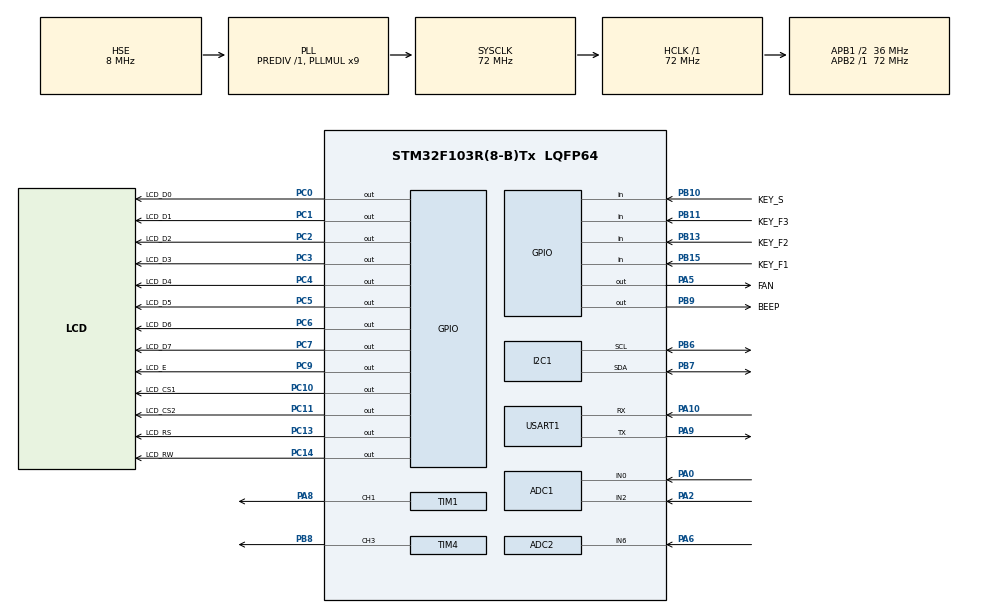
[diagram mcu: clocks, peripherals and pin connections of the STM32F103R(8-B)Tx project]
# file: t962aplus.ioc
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ADC2.SamplingTime-17\#ChannelRegularConversion=ADC_SAMPLETIME_28CYCLES_5
ADC1.Rank-14\#ChannelRegularConversion=15
TIM2.Channel-Output\ Compare1\ No\ Output=TIM_CHANNEL_1
ADC2.Rank-22\#ChannelRegularConversion=8
PB10.GPIO_PuPd=GPIO_PULLUP
ADC2.Channel-26\#ChannelRegularConversion=ADC_CHANNEL_6
ADC1.SamplingTime-6\#ChannelRegularConversion=ADC_SAMPLETIME_28CYCLES_5
PC6.GPIO_Label=LCD_D6
VP_RTC_VS_RTC_Activate.Mode=RTC_Enabled
ADC1.SamplingTime-12\#ChannelRegularConversion=ADC_SAMPLETIME_28CYCLES_5
PB13.Signal=GPIO_Input
ADC1.Channel-8\#ChannelRegularConversion=ADC_CHANNEL_2
PC3.GPIO_Speed=GPIO_SPEED_FREQ_LOW
RCC.SYSCLKSource=RCC_SYSCLKSOURCE_PLLCLK
ADC2.Rank-25\#ChannelRegularConversion=11
VP_TIM2_VS_ClockSourceITR.Mode=TriggerSource_ITR2
ADC1.Channel-5\#ChannelRegularConversion=ADC_CHANNEL_0
ADC1.Rank-11\#ChannelRegularConversion=12
RCC.APB2TimFreq_Value=72000000
PB6.Signal=I2C1_SCL
ADC1.Channel-2\#ChannelRegularConversion=ADC_CHANNEL_0
ADC2.Rank-18\#ChannelRegularConversion=4
PC7.Signal=GPIO_Output
PB6.Mode=I2C
PC3.Signal=GPIO_Output
ADC2.Rank-28\#ChannelRegularConversion=14
TIM4.Channel-PWM\ Generation3\ CH3=TIM_CHANNEL_3
RCC.RTCClockSelection=RCC_RTCCLKSOURCE_HSE_DIV128
ADC2.Channel-16\#ChannelRegularConversion=ADC_CHANNEL_6
PC4.GPIO_Label=LCD_D4
TIM1.Channel-PWM\ Generation1\ CH1=TIM_CHANNEL_1
PA8.Signal=S_TIM1_CH1
TIM4.Period=255
ADC1.Channel-15\#ChannelRegularConversion=ADC_CHANNEL_2
VP_TIM1_VS_ClockSourceINT.Mode=Internal
ADC1.SamplingTime-0\#ChannelRegularConversion=ADC_SAMPLETIME_28CYCLES_5
PB9.Signal=GPIO_Output
Mcu.Package=LQFP64
TIM2.Prescaler=0
ADC2.SamplingTime-24\#ChannelRegularConversion=ADC_SAMPLETIME_28CYCLES_5
NVIC.TimeBase=TIM3_IRQn
ADC2.Channel-20\#ChannelRegularConversion=ADC_CHANNEL_6
NVIC.TimeBaseIP=TIM3
PA10.Signal=USART1_RX
ADC2.Channel-30\#ChannelRegularConversion=ADC_CHANNEL_6
ADC1.SamplingTime-15\#ChannelRegularConversion=ADC_SAMPLETIME_28CYCLES_5
RCC.APB1TimFreq_Value=72000000
TIM1.Period=255
RTC.AutoPrediv=RTC_AUTO_1_SECOND
PC6.GPIO_Speed=GPIO_SPEED_FREQ_LOW
ADC1.Rank-4\#ChannelRegularConversion=5
ADC1.Channel-10\#ChannelRegularConversion=ADC_CHANNEL_2
ADC2.Rank-26\#ChannelRegularConversion=12
FREERTOS.Tasks01=defaultTask,24,128,StartDefaultTask,Default,NULL,Dynamic,NULL,NULL
ADC1.Rank-0\#ChannelRegularConversion=1
SH.ADCx_IN6.0=ADC2_IN6,IN6
PC2.Signal=GPIO_Output
PC6.Signal=GPIO_Output
PB11.GPIO_Label=KEY_F3
ADC2.Rank-30\#ChannelRegularConversion=16
ADC2.SamplingTime-22\#ChannelRegularConversion=ADC_SAMPLETIME_28CYCLES_5
PC0.Signal=GPIO_Output
ADC2.SamplingTime-25\#ChannelRegularConversion=ADC_SAMPLETIME_28CYCLES_5
RCC.APB1CLKDivider=RCC_HCLK_DIV2
PC14-OSC32_IN.Signal=GPIO_Output
PA0-WKUP.Signal=ADCx_IN0
ADC1.Channel-7\#ChannelRegularConversion=ADC_CHANNEL_0
ADC2.SamplingTime-18\#ChannelRegularConversion=ADC_SAMPLETIME_28CYCLES_5
ADC2.ContinuousConvMode=ENABLE
ADC2.Rank-23\#ChannelRegularConversion=9
PA9.Signal=USART1_TX
RTC.Format=RTC_FORMAT_BIN
PB10.Signal=GPIO_Input
PA5.Signal=GPIO_Output
ADC1.Rank-12\#ChannelRegularConversion=13
PC13-TAMPER-RTC.GPIO_Label=LCD_RS
ADC1.SamplingTime-14\#ChannelRegularConversion=ADC_SAMPLETIME_28CYCLES_5
NVIC.TIM3_IRQn=true\:0\:0\:false\:false\:true\:false\:false\:true
PB13.GPIO_PuPd=GPIO_PULLUP
PB15.GPIO_Label=KEY_F1
ADC2.Rank-19\#ChannelRegularConversion=5
PC1.GPIO_Speed=GPIO_SPEED_FREQ_LOW
ADC1.SamplingTime-10\#ChannelRegularConversion=ADC_SAMPLETIME_28CYCLES_5
ADC1.Rank-9\#ChannelRegularConversion=10
PA13.Mode=Serial_Wire
PC7.GPIO_Label=LCD_D7
ADC1.SamplingTime-1\#ChannelRegularConversion=ADC_SAMPLETIME_28CYCLES_5
ADC1.master=1
ADC2.Channel-19\#ChannelRegularConversion=ADC_CHANNEL_6
ADC2.NbrOfConversionFlag=1
PA5.GPIO_Label=FAN
USART1.VirtualMode=VM_ASYNC
ADC1.Rank-1\#ChannelRegularConversion=2
ProjectManager.HeapSize=0x200
ADC1.SamplingTime-5\#ChannelRegularConversion=ADC_SAMPLETIME_28CYCLES_5
ADC2.SamplingTime-21\#ChannelRegularConversion=ADC_SAMPLETIME_28CYCLES_5
NVIC.PriorityGroup=NVIC_PRIORITYGROUP_4
PC5.GPIO_Speed=GPIO_SPEED_FREQ_LOW
ADC2.Channel-27\#ChannelRegularConversion=ADC_CHANNEL_6
PC3.GPIO_Label=LCD_D3
ADC1.SamplingTime-9\#ChannelRegularConversion=ADC_SAMPLETIME_28CYCLES_5
ADC1.Rank-5\#ChannelRegularConversion=6
PC1.Signal=GPIO_Output
ADC2.Channel-23\#ChannelRegularConversion=ADC_CHANNEL_6
Mcu.Family=STM32F1
ADC2.SamplingTime-30\#ChannelRegularConversion=ADC_SAMPLETIME_28CYCLES_5
ADC2.SamplingTime-29\#ChannelRegularConversion=ADC_SAMPLETIME_28CYCLES_5
ADC2.Channel-0\#ChannelRegularConversion=ADC_CHANNEL_6
SH.ADCx_IN2.0=ADC1_IN2,IN2
PC10.Signal=GPIO_Output
PC0.GPIO_Label=LCD_D0
PC2.GPIO_Speed=GPIO_SPEED_FREQ_LOW
PB11.GPIO_PuPd=GPIO_PULLUP
PB13.GPIO_Label=KEY_F2
PB11.Signal=GPIO_Input
PB15.Signal=GPIO_Input
ADC1.Channel-14\#ChannelRegularConversion=ADC_CHANNEL_2
ProjectManager.StackSize=0x400
VP_FREERTOS_VS_CMSIS_V2.Mode=CMSIS_V2
PD1-OSC_OUT.Signal=RCC_OSC_OUT
VP_RTC_No_RTC_Output.Mode=RTC_OUT_NO
ADC2.SamplingTime-26\#ChannelRegularConversion=ADC_SAMPLETIME_28CYCLES_5
TIM1.Prescaler=56249
ADC1.Channel-3\#ChannelRegularConversion=ADC_CHANNEL_0
RCC.HCLKFreq_Value=72000000
RCC.AHBFreq_Value=72000000
ADC2.Rank-27\#ChannelRegularConversion=13
ADC1.Channel-0\#ChannelRegularConversion=ADC_CHANNEL_0
ADC2.Rank-16\#ChannelRegularConversion=2
VP_TIM2_VS_no_output1.Mode=Output Compare1 No Output
RCC.PLLMUL=RCC_PLL_MUL9
ADC1.SamplingTime-4\#ChannelRegularConversion=ADC_SAMPLETIME_28CYCLES_5
PC4.GPIO_Speed=GPIO_SPEED_FREQ_LOW
ADC1.Channel-6\#ChannelRegularConversion=ADC_CHANNEL_0
ADC1.Rank-2\#ChannelRegularConversion=3
ADC2.SamplingTime-20\#ChannelRegularConversion=ADC_SAMPLETIME_28CYCLES_5
PA14.Mode=Serial_Wire
ADC2.Channel-28\#ChannelRegularConversion=ADC_CHANNEL_6
PC11.GPIO_Label=LCD_CS2
PB7.Signal=I2C1_SDA
SH.ADCx_IN0.0=ADC1_IN0,IN0
ADC2.Rank-21\#ChannelRegularConversion=7
ADC1.Rank-15\#ChannelRegularConversion=16
ADC1.SamplingTime-11\#ChannelRegularConversion=ADC_SAMPLETIME_28CYCLES_5
PA6.Signal=ADCx_IN6
PB15.GPIO_PuPd=GPIO_PULLUP
ADC1.SamplingTime-13\#ChannelRegularConversion=ADC_SAMPLETIME_28CYCLES_5
ADC1.Channel-11\#ChannelRegularConversion=ADC_CHANNEL_2
PA15.Signal=SYS_JTDI
ADC2.SamplingTime-0\#ChannelRegularConversion=ADC_SAMPLETIME_28CYCLES_5
ADC2.NbrOfConversion=16
PC14-OSC32_IN.GPIO_Label=LCD_RW
ADC2.Channel-24\#ChannelRegularConversion=ADC_CHANNEL_6
PC5.Signal=GPIO_Output
ADC2.Rank-0\#ChannelRegularConversion=1
ADC1.Rank-6\#ChannelRegularConversion=7
ADC1.SamplingTime-8\#ChannelRegularConversion=ADC_SAMPLETIME_28CYCLES_5
PC2.GPIO_Label=LCD_D2
ADC2.Channel-22\#ChannelRegularConversion=ADC_CHANNEL_6
PB4.Signal=SYS_NJTRST
RCC.PLLSourceVirtual=RCC_PLLSOURCE_HSE
ADC2.Channel-18\#ChannelRegularConversion=ADC_CHANNEL_6
PD1-OSC_OUT.Mode=HSE-External-Oscillator
PB9.GPIO_Label=BEEP
ADC1.Channel-4\#ChannelRegularConversion=ADC_CHANNEL_0
PC10.GPIO_Label=LCD_CS1
PA10.Mode=Asynchronous
ADC1.Rank-10\#ChannelRegularConversion=11
PC9.GPIO_Label=LCD_E
ADC1.Rank-8\#ChannelRegularConversion=9
PC11.Signal=GPIO_Output
PC4.Signal=GPIO_Output
PC13-TAMPER-RTC.Signal=GPIO_Output
PD0-OSC_IN.Signal=RCC_OSC_IN
ADC1.Channel-13\#ChannelRegularConversion=ADC_CHANNEL_2
ADC1.SamplingTime-2\#ChannelRegularConversion=ADC_SAMPLETIME_28CYCLES_5
RCC.ADCPresc=RCC_ADCPCLK2_DIV6
PA13.Signal=SYS_JTMS-SWDIO
ADC1.Rank-13\#ChannelRegularConversion=14
PA9.Mode=Asynchronous
VP_SYS_VS_tim3.Mode=TIM3
PC0.GPIO_Speed=GPIO_SPEED_FREQ_LOW
SH.S_TIM1_CH1.0=TIM1_CH1,PWM Generation1 CH1
ProjectManager.TargetToolchain=STM32CubeIDE
PB10.GPIO_Label=KEY_S
VP_TIM2_VS_ControllerModeClock.Mode=Clock Mode
SH.S_TIM4_CH3.0=TIM4_CH3,PWM Generation3 CH3
ADC2.SamplingTime-28\#ChannelRegularConversion=ADC_SAMPLETIME_28CYCLES_5
ADC2.SamplingTime-16\#ChannelRegularConversion=ADC_SAMPLETIME_28CYCLES_5
ADC1.Channel-1\#ChannelRegularConversion=ADC_CHANNEL_0
ADC2.Rank-29\#ChannelRegularConversion=15
RCC.USBFreq_Value=72000000
ADC2.Rank-17\#ChannelRegularConversion=3
TIM4.Prescaler=56249
PD0-OSC_IN.Mode=HSE-External-Oscillator
ADC2.SamplingTime-19\#ChannelRegularConversion=ADC_SAMPLETIME_28CYCLES_5
board=custom
PC7.GPIO_Speed=GPIO_SPEED_FREQ_LOW
ADC2.SamplingTime-27\#ChannelRegularConversion=ADC_SAMPLETIME_28CYCLES_5
ADC1.Channel-12\#ChannelRegularConversion=ADC_CHANNEL_2
RCC.APB2Freq_Value=72000000
ADC2.Channel-21\#ChannelRegularConversion=ADC_CHANNEL_6
PC1.GPIO_Label=LCD_D1
ADC2.Rank-24\#ChannelRegularConversion=10
ADC2.Rank-20\#ChannelRegularConversion=6
ADC2.SamplingTime-23\#ChannelRegularConversion=ADC_SAMPLETIME_28CYCLES_5
ADC1.NbrOfConversion=16
Mcu.Name=STM32F103R(8-B)Tx
PA2.Signal=ADCx_IN2
ADC1.Channel-9\#ChannelRegularConversion=ADC_CHANNEL_2
PB3.Signal=SYS_JTDO-TRACESWO
RCC.SYSCLKFreq_VALUE=72000000
ADC1.SamplingTime-3\#ChannelRegularConversion=ADC_SAMPLETIME_28CYCLES_5
ADC1.Rank-3\#ChannelRegularConversion=4
ADC2.Channel-17\#ChannelRegularConversion=ADC_CHANNEL_6
PC5.GPIO_Label=LCD_D5
PB7.Mode=I2C
PA14.Signal=SYS_JTCK-SWCLK
ADC2.Channel-29\#ChannelRegularConversion=ADC_CHANNEL_6
ADC1.Rank-7\#ChannelRegularConversion=8
ADC1.NbrOfConversionFlag=1
PB8.Signal=S_TIM4_CH3
PC9.Signal=GPIO_Output
ADC1.SamplingTime-7\#ChannelRegularConversion=ADC_SAMPLETIME_28CYCLES_5
ADC2.Channel-25\#ChannelRegularConversion=ADC_CHANNEL_6
RCC.APB1Freq_Value=36000000

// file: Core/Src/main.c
/* USER CODE BEGIN Header */
/**
  ******************************************************************************
  * @file           : main.c
  * @brief          : Main program body
  ******************************************************************************
  * @attention
  *
  * <h2><center>&copy; Copyright (c) 2021 STMicroelectronics.
  * All rights reserved.</center></h2>
  *
  * This software component is licensed by ST under BSD 3-Clause license,
  * the "License"; You may not use this file except in compliance with the
  * License. You may obtain a copy of the License at:
  *                        opensource.org/licenses/BSD-3-Clause
  *
  ******************************************************************************
  */
/* USER CODE END Header */
#include "main.h"
#include "cmsis_os.h"

/* USER CODE BEGIN Includes */
#include "retarget.h"
#include <stdio.h>
#include "eeprom.h"
#include "lcd.h"
#include "max31855.h"
#include "sched.h"
#include "rtc.h"
#include "keypad.h"
#include "reflow.h"
#include "nvstorage.h"
#include "setup.h"
#include "adc.h"
#include "io.h"
#include "sensor.h"
#include "version.h"
#include "buzzer.h"

// No version.c file generated for LPCXpresso builds, fall back to this
__attribute__((weak)) const char* Version_GetGitVersion(void) {
	return "Pre-alpha-ultra-early";
	//return "no version info";
}

/* USER CODE END Includes */

ADC_HandleTypeDef hadc1;
ADC_HandleTypeDef hadc2;

I2C_HandleTypeDef hi2c1;

RTC_HandleTypeDef hrtc;

TIM_HandleTypeDef htim1;
TIM_HandleTypeDef htim2;
TIM_HandleTypeDef htim4;

UART_HandleTypeDef huart1;

/* Definitions for defaultTask */
osThreadId_t defaultTaskHandle;
const osThreadAttr_t defaultTask_attributes = {
  .name = "defaultTask",
  .stack_size = 384 * 4,
  .priority = (osPriority_t) osPriorityNormal,
};

void SystemClock_Config(void);
static void MX_GPIO_Init(void);
static void MX_ADC1_Init(void);
static void MX_I2C1_Init(void);
static void MX_USART1_UART_Init(void);
static void MX_TIM1_Init(void);
static void MX_TIM4_Init(void);
static void MX_ADC2_Init(void);
static void MX_RTC_Init(void);
static void MX_TIM2_Init(void);
void StartDefaultTask(void *argument);

/* USER CODE BEGIN 0 */
extern uint8_t logobmp[];
extern uint8_t stopbmp[];
extern uint8_t editbmp[];
extern uint8_t f3editbmp[];
extern uint8_t selectbmp[];

static int32_t Main_Work(void);

/* USER CODE END 0 */

int main(void)
{

  /* MCU Configuration--------------------------------------------------------*/

  /* Reset of all peripherals, Initializes the Flash interface and the Systick. */
  HAL_Init();

  /* Configure the system clock */
  SystemClock_Config();

  /* Initialize all configured peripherals */
  MX_GPIO_Init();
  MX_ADC1_Init();
  MX_I2C1_Init();
  MX_USART1_UART_Init();
  MX_TIM1_Init();
  MX_TIM4_Init();
  MX_ADC2_Init();
  MX_RTC_Init();
  MX_TIM2_Init();
  /* USER CODE BEGIN 2 */

  // De-HALize TIM3 so we can get a proper 32-bit counter
  TIM3->ARR = 0xffff;
  TIM3->CR2 = 0x20;
  TIM3->PSC = 8; // Div by 9 means count 8 times per us

  RetargetInit(&huart1);
  EEPROM_Init(&hi2c1);
  NV_Init();

  LCD_Init();
  LCD_BMPDisplay(logobmp, 0, 0);

  uint8_t buf[30];
  uint8_t len;

	len = IO_Partinfo(buf, sizeof(buf), "%s rev %c");
	LCD_disp_str((uint8_t*)buf, len, 0, 64 - 6, FONT6X6);
	printf("\nRunning on an %s", buf);

	len = snprintf(buf, sizeof(buf), "%s", Version_GetGitVersion());
	LCD_disp_str((uint8_t*)buf, len, LCD_ALIGN_CENTER(len), 0, FONT6X6);

  //len = snprintf(buf, sizeof(buf), "T-962A+ controller");
  //LCD_disp_str((uint8_t*)buf, len, LCD_ALIGN_CENTER(len), 0, FONT6X6);

  //len = snprintf(buf, sizeof(buf), "Unified Engineering");
  //LCD_disp_str((uint8_t*)buf, len, LCD_ALIGN_CENTER(len), 64-12, FONT6X6);
  //len = snprintf(buf, sizeof(buf), "Pre-alpha-ultra-early");
  //LCD_disp_str((uint8_t*)buf, len, LCD_ALIGN_CENTER(len), 64-6, FONT6X6);
  LCD_FB_Update();

  HAL_TIM_PWM_Start(&htim1, TIM_CHANNEL_1); // "Cool" on PA8
  HAL_TIM_PWM_Start(&htim4, TIM_CHANNEL_3); // "Heat" on PB8

  HAL_ADC_Start(&hadc1);
  HAL_ADC_Start(&hadc2);

  RTC_Init(&hrtc);
  Sched_Init(&htim2);

  SPI_TC_Init(&hi2c1);

	Keypad_Init();
	Buzzer_Init();
	ADC_Init();
//	RTC_Init();
//	OneWire_Init();
//	SPI_TC_Init();
	Reflow_Init();
//	SystemFan_Init();

	Sched_SetWorkfunc(MAIN_WORK, Main_Work);
	Sched_SetState(MAIN_WORK, 1, TICKS_SECS(2)); // Enable in 2 seconds

	Buzzer_Beep(BUZZ_1KHZ, 255, TICKS_MS(100));

  /* USER CODE END 2 */

  /* Init scheduler */
  osKernelInitialize();

  /* Create the thread(s) */
  /* creation of defaultTask */
  defaultTaskHandle = osThreadNew(StartDefaultTask, NULL, &defaultTask_attributes);

  /* USER CODE BEGIN RTOS_EVENTS */
  /* add events, ... */
  printf("Just before osKernelStart\r\n");
  /* USER CODE END RTOS_EVENTS */

  /* Start scheduler */
  osKernelStart();

  /* We should never get here as control is now taken by the scheduler */
  /* Infinite loop */
  while (1)
  {

  }
}

void SystemClock_Config(void)
{
  RCC_OscInitTypeDef RCC_OscInitStruct = {0};
  RCC_ClkInitTypeDef RCC_ClkInitStruct = {0};
  RCC_PeriphCLKInitTypeDef PeriphClkInit = {0};

  /** Initializes the RCC Oscillators according to the specified parameters
  * in the RCC_OscInitTypeDef structure.
  */
  RCC_OscInitStruct.OscillatorType = RCC_OSCILLATORTYPE_HSE;
  RCC_OscInitStruct.HSEState = RCC_HSE_ON;
  RCC_OscInitStruct.HSEPredivValue = RCC_HSE_PREDIV_DIV1;
  RCC_OscInitStruct.HSIState = RCC_HSI_ON;
  RCC_OscInitStruct.PLL.PLLState = RCC_PLL_ON;
  RCC_OscInitStruct.PLL.PLLSource = RCC_PLLSOURCE_HSE;
  RCC_OscInitStruct.PLL.PLLMUL = RCC_PLL_MUL9;
  if (HAL_RCC_OscConfig(&RCC_OscInitStruct) != HAL_OK)
  {
    Error_Handler();
  }
  /** Initializes the CPU, AHB and APB buses clocks
  */
  RCC_ClkInitStruct.ClockType = RCC_CLOCKTYPE_HCLK|RCC_CLOCKTYPE_SYSCLK
                              |RCC_CLOCKTYPE_PCLK1|RCC_CLOCKTYPE_PCLK2;
  RCC_ClkInitStruct.SYSCLKSource = RCC_SYSCLKSOURCE_PLLCLK;
  RCC_ClkInitStruct.AHBCLKDivider = RCC_SYSCLK_DIV1;
  RCC_ClkInitStruct.APB1CLKDivider = RCC_HCLK_DIV2;
  RCC_ClkInitStruct.APB2CLKDivider = RCC_HCLK_DIV1;

  if (HAL_RCC_ClockConfig(&RCC_ClkInitStruct, FLASH_LATENCY_2) != HAL_OK)
  {
    Error_Handler();
  }
  PeriphClkInit.PeriphClockSelection = RCC_PERIPHCLK_RTC|RCC_PERIPHCLK_ADC;
  PeriphClkInit.RTCClockSelection = RCC_RTCCLKSOURCE_HSE_DIV128;
  PeriphClkInit.AdcClockSelection = RCC_ADCPCLK2_DIV6;
  if (HAL_RCCEx_PeriphCLKConfig(&PeriphClkInit) != HAL_OK)
  {
    Error_Handler();
  }
}

static void MX_ADC1_Init(void)
{

  ADC_ChannelConfTypeDef sConfig = {0};

  /** Common config
  */
  hadc1.Instance = ADC1;
  hadc1.Init.ScanConvMode = ADC_SCAN_ENABLE;
  hadc1.Init.ContinuousConvMode = DISABLE;
  hadc1.Init.DiscontinuousConvMode = DISABLE;
  hadc1.Init.ExternalTrigConv = ADC_SOFTWARE_START;
  hadc1.Init.DataAlign = ADC_DATAALIGN_RIGHT;
  hadc1.Init.NbrOfConversion = 16;
  if (HAL_ADC_Init(&hadc1) != HAL_OK)
  {
    Error_Handler();
  }
  /** Configure Regular Channel
  */
  sConfig.Channel = ADC_CHANNEL_0;
  sConfig.Rank = ADC_REGULAR_RANK_1;
  sConfig.SamplingTime = ADC_SAMPLETIME_28CYCLES_5;
  if (HAL_ADC_ConfigChannel(&hadc1, &sConfig) != HAL_OK)
  {
    Error_Handler();
  }
  /** Configure Regular Channel
  */
  sConfig.Rank = ADC_REGULAR_RANK_2;
  if (HAL_ADC_ConfigChannel(&hadc1, &sConfig) != HAL_OK)
  {
    Error_Handler();
  }
  /** Configure Regular Channel
  */
  sConfig.Rank = ADC_REGULAR_RANK_3;
  if (HAL_ADC_ConfigChannel(&hadc1, &sConfig) != HAL_OK)
  {
    Error_Handler();
  }
  /** Configure Regular Channel
  */
  sConfig.Rank = ADC_REGULAR_RANK_4;
  if (HAL_ADC_ConfigChannel(&hadc1, &sConfig) != HAL_OK)
  {
    Error_Handler();
  }
  /** Configure Regular Channel
  */
  sConfig.Rank = ADC_REGULAR_RANK_5;
  if (HAL_ADC_ConfigChannel(&hadc1, &sConfig) != HAL_OK)
  {
    Error_Handler();
  }
  /** Configure Regular Channel
  */
  sConfig.Rank = ADC_REGULAR_RANK_6;
  if (HAL_ADC_ConfigChannel(&hadc1, &sConfig) != HAL_OK)
  {
    Error_Handler();
  }
  /** Configure Regular Channel
  */
  sConfig.Rank = ADC_REGULAR_RANK_7;
  if (HAL_ADC_ConfigChannel(&hadc1, &sConfig) != HAL_OK)
  {
    Error_Handler();
  }
  /** Configure Regular Channel
  */
  sConfig.Rank = ADC_REGULAR_RANK_8;
  if (HAL_ADC_ConfigChannel(&hadc1, &sConfig) != HAL_OK)
  {
    Error_Handler();
  }
  /** Configure Regular Channel
  */
  sConfig.Channel = ADC_CHANNEL_2;
  sConfig.Rank = ADC_REGULAR_RANK_9;
  if (HAL_ADC_ConfigChannel(&hadc1, &sConfig) != HAL_OK)
  {
    Error_Handler();
  }
  /** Configure Regular Channel
  */
  sConfig.Rank = ADC_REGULAR_RANK_10;
  if (HAL_ADC_ConfigChannel(&hadc1, &sConfig) != HAL_OK)
  {
    Error_Handler();
  }
  /** Configure Regular Channel
  */
  sConfig.Rank = ADC_REGULAR_RANK_11;
  if (HAL_ADC_ConfigChannel(&hadc1, &sConfig) != HAL_OK)
  {
    Error_Handler();
  }
  /** Configure Regular Channel
  */
  sConfig.Rank = ADC_REGULAR_RANK_12;
  if (HAL_ADC_ConfigChannel(&hadc1, &sConfig) != HAL_OK)
  {
    Error_Handler();
  }
  /** Configure Regular Channel
  */
  sConfig.Rank = ADC_REGULAR_RANK_13;
  if (HAL_ADC_ConfigChannel(&hadc1, &sConfig) != HAL_OK)
  {
    Error_Handler();
  }
  /** Configure Regular Channel
  */
  sConfig.Rank = ADC_REGULAR_RANK_14;
  if (HAL_ADC_ConfigChannel(&hadc1, &sConfig) != HAL_OK)
  {
    Error_Handler();
  }
  /** Configure Regular Channel
  */
  sConfig.Rank = ADC_REGULAR_RANK_15;
  if (HAL_ADC_ConfigChannel(&hadc1, &sConfig) != HAL_OK)
  {
    Error_Handler();
  }
  /** Configure Regular Channel
  */
  sConfig.Rank = ADC_REGULAR_RANK_16;
  if (HAL_ADC_ConfigChannel(&hadc1, &sConfig) != HAL_OK)
  {
    Error_Handler();
  }

}

static void MX_ADC2_Init(void)
{

  ADC_ChannelConfTypeDef sConfig = {0};

  /** Common config
  */
  hadc2.Instance = ADC2;
  hadc2.Init.ScanConvMode = ADC_SCAN_ENABLE;
  hadc2.Init.ContinuousConvMode = ENABLE;
  hadc2.Init.DiscontinuousConvMode = DISABLE;
  hadc2.Init.ExternalTrigConv = ADC_SOFTWARE_START;
  hadc2.Init.DataAlign = ADC_DATAALIGN_RIGHT;
  hadc2.Init.NbrOfConversion = 16;
  if (HAL_ADC_Init(&hadc2) != HAL_OK)
  {
    Error_Handler();
  }
  /** Configure Regular Channel
  */
  sConfig.Channel = ADC_CHANNEL_6;
  sConfig.Rank = ADC_REGULAR_RANK_1;
  sConfig.SamplingTime = ADC_SAMPLETIME_28CYCLES_5;
  if (HAL_ADC_ConfigChannel(&hadc2, &sConfig) != HAL_OK)
  {
    Error_Handler();
  }
  /** Configure Regular Channel
  */
  sConfig.Rank = ADC_REGULAR_RANK_2;
  if (HAL_ADC_ConfigChannel(&hadc2, &sConfig) != HAL_OK)
  {
    Error_Handler();
  }
  /** Configure Regular Channel
  */
  sConfig.Rank = ADC_REGULAR_RANK_3;
  if (HAL_ADC_ConfigChannel(&hadc2, &sConfig) != HAL_OK)
  {
    Error_Handler();
  }
  /** Configure Regular Channel
  */
  sConfig.Rank = ADC_REGULAR_RANK_4;
  if (HAL_ADC_ConfigChannel(&hadc2, &sConfig) != HAL_OK)
  {
    Error_Handler();
  }
  /** Configure Regular Channel
  */
  sConfig.Rank = ADC_REGULAR_RANK_5;
  if (HAL_ADC_ConfigChannel(&hadc2, &sConfig) != HAL_OK)
  {
    Error_Handler();
  }
  /** Configure Regular Channel
  */
  sConfig.Rank = ADC_REGULAR_RANK_6;
  if (HAL_ADC_ConfigChannel(&hadc2, &sConfig) != HAL_OK)
  {
    Error_Handler();
  }
  /** Configure Regular Channel
  */
  sConfig.Rank = ADC_REGULAR_RANK_7;
  if (HAL_ADC_ConfigChannel(&hadc2, &sConfig) != HAL_OK)
  {
    Error_Handler();
  }
  /** Configure Regular Channel
  */
  sConfig.Rank = ADC_REGULAR_RANK_8;
  if (HAL_ADC_ConfigChannel(&hadc2, &sConfig) != HAL_OK)
  {
    Error_Handler();
  }
  /** Configure Regular Channel
  */
  sConfig.Rank = ADC_REGULAR_RANK_9;
  if (HAL_ADC_ConfigChannel(&hadc2, &sConfig) != HAL_OK)
  {
    Error_Handler();
  }
  /** Configure Regular Channel
  */
  sConfig.Rank = ADC_REGULAR_RANK_10;
  if (HAL_ADC_ConfigChannel(&hadc2, &sConfig) != HAL_OK)
  {
    Error_Handler();
  }
  /** Configure Regular Channel
  */
  sConfig.Rank = ADC_REGULAR_RANK_11;
  if (HAL_ADC_ConfigChannel(&hadc2, &sConfig) != HAL_OK)
  {
    Error_Handler();
  }
  /** Configure Regular Channel
  */
  sConfig.Rank = ADC_REGULAR_RANK_12;
  if (HAL_ADC_ConfigChannel(&hadc2, &sConfig) != HAL_OK)
  {
    Error_Handler();
  }
  /** Configure Regular Channel
  */
  sConfig.Rank = ADC_REGULAR_RANK_13;
  if (HAL_ADC_ConfigChannel(&hadc2, &sConfig) != HAL_OK)
  {
    Error_Handler();
  }
  /** Configure Regular Channel
  */
  sConfig.Rank = ADC_REGULAR_RANK_14;
  if (HAL_ADC_ConfigChannel(&hadc2, &sConfig) != HAL_OK)
  {
    Error_Handler();
  }
  /** Configure Regular Channel
  */
  sConfig.Rank = ADC_REGULAR_RANK_15;
  if (HAL_ADC_ConfigChannel(&hadc2, &sConfig) != HAL_OK)
  {
    Error_Handler();
  }
  /** Configure Regular Channel
  */
  sConfig.Rank = ADC_REGULAR_RANK_16;
  if (HAL_ADC_ConfigChannel(&hadc2, &sConfig) != HAL_OK)
  {
    Error_Handler();
  }

}

static void MX_I2C1_Init(void)
{

  hi2c1.Instance = I2C1;
  hi2c1.Init.ClockSpeed = 100000;
  hi2c1.Init.DutyCycle = I2C_DUTYCYCLE_2;
  hi2c1.Init.OwnAddress1 = 0;
  hi2c1.Init.AddressingMode = I2C_ADDRESSINGMODE_7BIT;
  hi2c1.Init.DualAddressMode = I2C_DUALADDRESS_DISABLE;
  hi2c1.Init.OwnAddress2 = 0;
  hi2c1.Init.GeneralCallMode = I2C_GENERALCALL_DISABLE;
  hi2c1.Init.NoStretchMode = I2C_NOSTRETCH_DISABLE;
  if (HAL_I2C_Init(&hi2c1) != HAL_OK)
  {
    Error_Handler();
  }

}

static void MX_RTC_Init(void)
{

  RTC_TimeTypeDef sTime = {0};
  RTC_DateTypeDef DateToUpdate = {0};

  /** Initialize RTC Only
  */
  hrtc.Instance = RTC;
  hrtc.Init.AsynchPrediv = RTC_AUTO_1_SECOND;
  hrtc.Init.OutPut = RTC_OUTPUTSOURCE_NONE;
  if (HAL_RTC_Init(&hrtc) != HAL_OK)
  {
    Error_Handler();
  }

  /** Initialize RTC and set the Time and Date
  */
  sTime.Hours = 0;
  sTime.Minutes = 0;
  sTime.Seconds = 0;

  if (HAL_RTC_SetTime(&hrtc, &sTime, RTC_FORMAT_BIN) != HAL_OK)
  {
    Error_Handler();
  }
  DateToUpdate.WeekDay = RTC_WEEKDAY_MONDAY;
  DateToUpdate.Month = RTC_MONTH_JANUARY;
  DateToUpdate.Date = 1;
  DateToUpdate.Year = 0;

  if (HAL_RTC_SetDate(&hrtc, &DateToUpdate, RTC_FORMAT_BIN) != HAL_OK)
  {
    Error_Handler();
  }

}

static void MX_TIM1_Init(void)
{

  TIM_ClockConfigTypeDef sClockSourceConfig = {0};
  TIM_MasterConfigTypeDef sMasterConfig = {0};
  TIM_OC_InitTypeDef sConfigOC = {0};
  TIM_BreakDeadTimeConfigTypeDef sBreakDeadTimeConfig = {0};

  htim1.Instance = TIM1;
  htim1.Init.Prescaler = 56249;
  htim1.Init.CounterMode = TIM_COUNTERMODE_UP;
  htim1.Init.Period = 255;
  htim1.Init.ClockDivision = TIM_CLOCKDIVISION_DIV1;
  htim1.Init.RepetitionCounter = 0;
  htim1.Init.AutoReloadPreload = TIM_AUTORELOAD_PRELOAD_DISABLE;
  if (HAL_TIM_Base_Init(&htim1) != HAL_OK)
  {
    Error_Handler();
  }
  sClockSourceConfig.ClockSource = TIM_CLOCKSOURCE_INTERNAL;
  if (HAL_TIM_ConfigClockSource(&htim1, &sClockSourceConfig) != HAL_OK)
  {
    Error_Handler();
  }
  if (HAL_TIM_PWM_Init(&htim1) != HAL_OK)
  {
    Error_Handler();
  }
  sMasterConfig.MasterOutputTrigger = TIM_TRGO_RESET;
  sMasterConfig.MasterSlaveMode = TIM_MASTERSLAVEMODE_DISABLE;
  if (HAL_TIMEx_MasterConfigSynchronization(&htim1, &sMasterConfig) != HAL_OK)
  {
    Error_Handler();
  }
  sConfigOC.OCMode = TIM_OCMODE_PWM1;
  sConfigOC.Pulse = 0;
  sConfigOC.OCPolarity = TIM_OCPOLARITY_HIGH;
  sConfigOC.OCNPolarity = TIM_OCNPOLARITY_HIGH;
  sConfigOC.OCFastMode = TIM_OCFAST_DISABLE;
  sConfigOC.OCIdleState = TIM_OCIDLESTATE_RESET;
  sConfigOC.OCNIdleState = TIM_OCNIDLESTATE_RESET;
  if (HAL_TIM_PWM_ConfigChannel(&htim1, &sConfigOC, TIM_CHANNEL_1) != HAL_OK)
  {
    Error_Handler();
  }
  sBreakDeadTimeConfig.OffStateRunMode = TIM_OSSR_DISABLE;
  sBreakDeadTimeConfig.OffStateIDLEMode = TIM_OSSI_DISABLE;
  sBreakDeadTimeConfig.LockLevel = TIM_LOCKLEVEL_OFF;
  sBreakDeadTimeConfig.DeadTime = 0;
  sBreakDeadTimeConfig.BreakState = TIM_BREAK_DISABLE;
  sBreakDeadTimeConfig.BreakPolarity = TIM_BREAKPOLARITY_HIGH;
  sBreakDeadTimeConfig.AutomaticOutput = TIM_AUTOMATICOUTPUT_DISABLE;
  if (HAL_TIMEx_ConfigBreakDeadTime(&htim1, &sBreakDeadTimeConfig) != HAL_OK)
  {
    Error_Handler();
  }
  HAL_TIM_MspPostInit(&htim1);

}

static void MX_TIM2_Init(void)
{

  TIM_SlaveConfigTypeDef sSlaveConfig = {0};
  TIM_MasterConfigTypeDef sMasterConfig = {0};
  TIM_OC_InitTypeDef sConfigOC = {0};

  htim2.Instance = TIM2;
  htim2.Init.Prescaler = 0;
  htim2.Init.CounterMode = TIM_COUNTERMODE_UP;
  htim2.Init.Period = 65535;
  htim2.Init.ClockDivision = TIM_CLOCKDIVISION_DIV1;
  htim2.Init.AutoReloadPreload = TIM_AUTORELOAD_PRELOAD_DISABLE;
  if (HAL_TIM_Base_Init(&htim2) != HAL_OK)
  {
    Error_Handler();
  }
  if (HAL_TIM_OC_Init(&htim2) != HAL_OK)
  {
    Error_Handler();
  }
  sSlaveConfig.SlaveMode = TIM_SLAVEMODE_EXTERNAL1;
  sSlaveConfig.InputTrigger = TIM_TS_ITR2;
  if (HAL_TIM_SlaveConfigSynchro(&htim2, &sSlaveConfig) != HAL_OK)
  {
    Error_Handler();
  }
  sMasterConfig.MasterOutputTrigger = TIM_TRGO_RESET;
  sMasterConfig.MasterSlaveMode = TIM_MASTERSLAVEMODE_DISABLE;
  if (HAL_TIMEx_MasterConfigSynchronization(&htim2, &sMasterConfig) != HAL_OK)
  {
    Error_Handler();
  }
  sConfigOC.OCMode = TIM_OCMODE_TIMING;
  sConfigOC.Pulse = 0;
  sConfigOC.OCPolarity = TIM_OCPOLARITY_HIGH;
  sConfigOC.OCFastMode = TIM_OCFAST_DISABLE;
  if (HAL_TIM_OC_ConfigChannel(&htim2, &sConfigOC, TIM_CHANNEL_1) != HAL_OK)
  {
    Error_Handler();
  }

}

static void MX_TIM4_Init(void)
{

  TIM_MasterConfigTypeDef sMasterConfig = {0};
  TIM_OC_InitTypeDef sConfigOC = {0};

  htim4.Instance = TIM4;
  htim4.Init.Prescaler = 56249;
  htim4.Init.CounterMode = TIM_COUNTERMODE_UP;
  htim4.Init.Period = 255;
  htim4.Init.ClockDivision = TIM_CLOCKDIVISION_DIV1;
  htim4.Init.AutoReloadPreload = TIM_AUTORELOAD_PRELOAD_DISABLE;
  if (HAL_TIM_PWM_Init(&htim4) != HAL_OK)
  {
    Error_Handler();
  }
  sMasterConfig.MasterOutputTrigger = TIM_TRGO_RESET;
  sMasterConfig.MasterSlaveMode = TIM_MASTERSLAVEMODE_DISABLE;
  if (HAL_TIMEx_MasterConfigSynchronization(&htim4, &sMasterConfig) != HAL_OK)
  {
    Error_Handler();
  }
  sConfigOC.OCMode = TIM_OCMODE_PWM1;
  sConfigOC.Pulse = 0;
  sConfigOC.OCPolarity = TIM_OCPOLARITY_HIGH;
  sConfigOC.OCFastMode = TIM_OCFAST_DISABLE;
  if (HAL_TIM_PWM_ConfigChannel(&htim4, &sConfigOC, TIM_CHANNEL_3) != HAL_OK)
  {
    Error_Handler();
  }
  HAL_TIM_MspPostInit(&htim4);

}

static void MX_USART1_UART_Init(void)
{

  huart1.Instance = USART1;
  huart1.Init.BaudRate = 115200;
  huart1.Init.WordLength = UART_WORDLENGTH_8B;
  huart1.Init.StopBits = UART_STOPBITS_1;
  huart1.Init.Parity = UART_PARITY_NONE;
  huart1.Init.Mode = UART_MODE_TX_RX;
  huart1.Init.HwFlowCtl = UART_HWCONTROL_NONE;
  huart1.Init.OverSampling = UART_OVERSAMPLING_16;
  if (HAL_UART_Init(&huart1) != HAL_OK)
  {
    Error_Handler();
  }

}

static void MX_GPIO_Init(void)
{
  GPIO_InitTypeDef GPIO_InitStruct = {0};

  /* GPIO Ports Clock Enable */
  __HAL_RCC_GPIOC_CLK_ENABLE();
  __HAL_RCC_GPIOD_CLK_ENABLE();
  __HAL_RCC_GPIOA_CLK_ENABLE();
  __HAL_RCC_GPIOB_CLK_ENABLE();

  /*Configure GPIO pin Output Level */
  HAL_GPIO_WritePin(GPIOC, LCD_RS_Pin|LCD_RW_Pin|LCD_D0_Pin|LCD_D1_Pin
                          |LCD_D2_Pin|LCD_D3_Pin|LCD_D4_Pin|LCD_D5_Pin
                          |LCD_D6_Pin|LCD_D7_Pin|LCD_E_Pin|LCD_CS1_Pin
                          |LCD_CS2_Pin, GPIO_PIN_RESET);

  /*Configure GPIO pin Output Level */
  HAL_GPIO_WritePin(FAN_GPIO_Port, FAN_Pin, GPIO_PIN_RESET);

  /*Configure GPIO pin Output Level */
  HAL_GPIO_WritePin(BEEP_GPIO_Port, BEEP_Pin, GPIO_PIN_RESET);

  /*Configure GPIO pins : LCD_RS_Pin LCD_RW_Pin LCD_D0_Pin LCD_D1_Pin
                           LCD_D2_Pin LCD_D3_Pin LCD_D4_Pin LCD_D5_Pin
                           LCD_D6_Pin LCD_D7_Pin LCD_E_Pin LCD_CS1_Pin
                           LCD_CS2_Pin */
  GPIO_InitStruct.Pin = LCD_RS_Pin|LCD_RW_Pin|LCD_D0_Pin|LCD_D1_Pin
                          |LCD_D2_Pin|LCD_D3_Pin|LCD_D4_Pin|LCD_D5_Pin
                          |LCD_D6_Pin|LCD_D7_Pin|LCD_E_Pin|LCD_CS1_Pin
                          |LCD_CS2_Pin;
  GPIO_InitStruct.Mode = GPIO_MODE_OUTPUT_PP;
  GPIO_InitStruct.Pull = GPIO_NOPULL;
  GPIO_InitStruct.Speed = GPIO_SPEED_FREQ_LOW;
  HAL_GPIO_Init(GPIOC, &GPIO_InitStruct);

  /*Configure GPIO pin : FAN_Pin */
  GPIO_InitStruct.Pin = FAN_Pin;
  GPIO_InitStruct.Mode = GPIO_MODE_OUTPUT_PP;
  GPIO_InitStruct.Pull = GPIO_NOPULL;
  GPIO_InitStruct.Speed = GPIO_SPEED_FREQ_LOW;
  HAL_GPIO_Init(FAN_GPIO_Port, &GPIO_InitStruct);

  /*Configure GPIO pins : KEY_S_Pin KEY_F3_Pin KEY_F2_Pin KEY_F1_Pin */
  GPIO_InitStruct.Pin = KEY_S_Pin|KEY_F3_Pin|KEY_F2_Pin|KEY_F1_Pin;
  GPIO_InitStruct.Mode = GPIO_MODE_INPUT;
  GPIO_InitStruct.Pull = GPIO_PULLUP;
  HAL_GPIO_Init(GPIOB, &GPIO_InitStruct);

  /*Configure GPIO pin : BEEP_Pin */
  GPIO_InitStruct.Pin = BEEP_Pin;
  GPIO_InitStruct.Mode = GPIO_MODE_OUTPUT_PP;
  GPIO_InitStruct.Pull = GPIO_NOPULL;
  GPIO_InitStruct.Speed = GPIO_SPEED_FREQ_LOW;
  HAL_GPIO_Init(BEEP_GPIO_Port, &GPIO_InitStruct);

}

/* USER CODE BEGIN 4 */
typedef enum eMainMode {
	MAIN_HOME = 0,
	MAIN_ABOUT,
	MAIN_SETUP,
	MAIN_BAKE,
	MAIN_SELECT_PROFILE,
	MAIN_EDIT_PROFILE,
	MAIN_REFLOW
} MainMode_t;

static int32_t Main_Work(void) {
	static MainMode_t mode = MAIN_HOME;
	static uint16_t setpoint = 0;
	if (setpoint == 0) {
		Reflow_LoadSetpoint();
		setpoint = Reflow_GetSetpoint();
	}
	static int timer = 0;

	// profile editing
	static uint8_t profile_time_idx = 0;
	static uint8_t current_edit_profile;

	int32_t retval = TICKS_MS(500);

	char buf[22];
	int len;

	uint32_t keyspressed = Keypad_Get();

	char serial_cmd[255] = "";
	char* cmd_select_profile = "select profile %d";
	char* cmd_bake = "bake %d %d";
	char* cmd_dump_profile = "dump profile %d";
	char* cmd_setting = "setting %d %f";

#if 0
	if (uart_isrxready()) {
		int len = uart_readline(serial_cmd, 255);

		if (len > 0) {
			int param, param1;
			float paramF;

			if (strcmp(serial_cmd, "about") == 0) {
				printf(format_about, Version_GetGitVersion());
				len = IO_Partinfo(buf, sizeof(buf), "\nPart number: %s rev %c\n");
				printf(buf);
				EEPROM_Dump();

				printf("\nSensor values:\n");
				Sensor_ListAll();

			} else if (strcmp(serial_cmd, "help") == 0 || strcmp(serial_cmd, "?") == 0) {
				printf(help_text);

			} else if (strcmp(serial_cmd, "list profiles") == 0) {
				printf("\nReflow profiles available:\n");

				Reflow_ListProfiles();
				printf("\n");

			} else if (strcmp(serial_cmd, "reflow") == 0) {
				printf("\nStarting reflow with profile: %s\n", Reflow_GetProfileName());
				mode = MAIN_HOME;
				// this is a bit dirty, but with the least code duplication.
				keyspressed = KEY_S;

			} else if (strcmp(serial_cmd, "list settings") == 0) {
				printf("\nCurrent settings:\n\n");
				for (int i = 0; i < Setup_getNumItems() ; i++) {
					printf("%d: ", i);
					Setup_printFormattedValue(i);
					printf("\n");
				}

			} else if (strcmp(serial_cmd, "stop") == 0) {
				printf("\nStopping bake/reflow");
				mode = MAIN_HOME;
				Reflow_SetMode(REFLOW_STANDBY);
				retval = 0;

			} else if (strcmp(serial_cmd, "quiet") == 0) {
				Reflow_ToggleStandbyLogging();
				printf("\nToggled standby logging\n");

			} else if (strcmp(serial_cmd, "values") == 0) {
				printf("\nActual measured values:\n");
				Sensor_ListAll();
				printf("\n");

			} else if (sscanf(serial_cmd, cmd_select_profile, &param) > 0) {
				// select profile
				Reflow_SelectProfileIdx(param);
				printf("\nSelected profile %d: %s\n", param, Reflow_GetProfileName());

			} else if (sscanf(serial_cmd, cmd_bake, &param, &param1) > 0) {
				if (param < SETPOINT_MIN) {
					printf("\nSetpoint must be >= %ddegC\n", SETPOINT_MIN);
					param = SETPOINT_MIN;
				}
				if (param > SETPOINT_MAX) {
					printf("\nSetpont must be <= %ddegC\n", SETPOINT_MAX);
					param = SETPOINT_MAX;
				}
				if (param1 < 1) {
					printf("\nTimer must be greater than 0\n");
					param1 = 1;
				}

				if (param1 < BAKE_TIMER_MAX) {
					printf("\nStarting bake with setpoint %ddegC for %ds after reaching setpoint\n", param, param1);
					timer = param1;
					Reflow_SetBakeTimer(timer);
				} else {
					printf("\nStarting bake with setpoint %ddegC\n", param);
				}

				setpoint = param;
				Reflow_SetSetpoint(setpoint);
				mode = MAIN_BAKE;
				Reflow_SetMode(REFLOW_BAKE);

			} else if (sscanf(serial_cmd, cmd_dump_profile, &param) > 0) {
				printf("\nDumping profile %d: %s\n ", param, Reflow_GetProfileName());
				Reflow_DumpProfile(param);

			} else if (sscanf(serial_cmd, cmd_setting, &param, &paramF) > 0) {
				Setup_setRealValue(param, paramF);
				printf("\nAdjusted setting: ");
				Setup_printFormattedValue(param);

			} else {
				printf("\nCannot understand command, ? for help\n");
			}
		}
	}
#endif

	// main menu state machine
	if (mode == MAIN_SETUP) {
		static uint8_t selected = 0;
		int y = 0;

		int keyrepeataccel = keyspressed >> 17; // Divide the value by 2
		if (keyrepeataccel < 1) keyrepeataccel = 1;
		if (keyrepeataccel > 30) keyrepeataccel = 30;

#if 0
		if (keyspressed & KEY_F1) {
			if (selected > 0) { // Prev row
				selected--;
			} else { // wrap
				selected = Setup_getNumItems() - 1;
			}
		}
#endif
		if (keyspressed & KEY_F1) {
			if (selected < (Setup_getNumItems() - 1)) { // Next row
				selected++;
			} else { // wrap
				selected = 0;
			}
		}

		if (keyspressed & KEY_F2) {
			Setup_decreaseValue(selected, keyrepeataccel);
		}
		if (keyspressed & KEY_F3) {
			Setup_increaseValue(selected, keyrepeataccel);
		}

		LCD_FB_Clear();
		len = snprintf(buf, sizeof(buf), "Setup/calibration");
		LCD_disp_str((uint8_t*)buf, len, LCD_ALIGN_CENTER(len), y, FONT6X6);
		y += 7;

		for (int i = 0; i < Setup_getNumItems() ; i++) {
			len = Setup_snprintFormattedValue(buf, sizeof(buf), i);
			LCD_disp_str((uint8_t*)buf, len, 0, y, FONT6X6 | (selected == i) ? INVERT : 0);
			y += 7;
		}

		// buttons
		y = 64 - 7;
		//LCD_disp_str((uint8_t*)" < ", 3, 0, y, FONT6X6 | INVERT);
		LCD_disp_str((uint8_t*)" > ", 3, 20, y, FONT6X6 | INVERT);
		LCD_disp_str((uint8_t*)" - ", 3, 45, y, FONT6X6 | INVERT);
		LCD_disp_str((uint8_t*)" + ", 3, 65, y, FONT6X6 | INVERT);
		LCD_disp_str((uint8_t*)" DONE ", 6, 91, y, FONT6X6 | INVERT);

		// Leave setup
		if (keyspressed & KEY_S) {
			mode = MAIN_HOME;
			Reflow_SetMode(REFLOW_STANDBY);
			retval = 0; // Force immediate refresh
		}
	} else if (mode == MAIN_ABOUT) {
		LCD_FB_Clear();
		LCD_BMPDisplay(logobmp, 0, 0);

		len = snprintf(buf, sizeof(buf), "T-962A+ controller");
		LCD_disp_str((uint8_t*)buf, len, LCD_ALIGN_CENTER(len), 0, FONT6X6);

		len = snprintf(buf, sizeof(buf), "%s", Version_GetGitVersion());
		LCD_disp_str((uint8_t*)buf, len, LCD_ALIGN_CENTER(len), 64 - 6, FONT6X6);

		LCD_BMPDisplay(stopbmp, 127 - 17, 0);

		// Leave about with any key.
		if (keyspressed & KEY_ANY) {
			mode = MAIN_HOME;
			retval = 0; // Force immediate refresh
		}
	} else if (mode == MAIN_REFLOW) {
		uint32_t ticks = RTC_Read();

		len = snprintf(buf, sizeof(buf), "%03u", Reflow_GetSetpoint());
		LCD_disp_str((uint8_t*)"SET", 3, 110, 7, FONT6X6);
		LCD_disp_str((uint8_t*)buf, len, 110, 13, FONT6X6);

		len = snprintf(buf, sizeof(buf), "%03u", Reflow_GetActualTemp());
		LCD_disp_str((uint8_t*)"ACT", 3, 110, 20, FONT6X6);
		LCD_disp_str((uint8_t*)buf, len, 110, 26, FONT6X6);

		len = snprintf(buf, sizeof(buf), "%03u", (unsigned int)ticks);
		LCD_disp_str((uint8_t*)"RUN", 3, 110, 33, FONT6X6);
		LCD_disp_str((uint8_t*)buf, len, 110, 39, FONT6X6);

		// Abort reflow
		if (Reflow_IsDone() || keyspressed & KEY_S) {
			printf("\nReflow %s\n", (Reflow_IsDone() ? "done" : "interrupted by keypress"));
			if (Reflow_IsDone()) {
				Buzzer_Beep(BUZZ_1KHZ, 255, TICKS_MS(100) * NV_GetConfig(REFLOW_BEEP_DONE_LEN));
			}
			mode = MAIN_HOME;
			Reflow_SetMode(REFLOW_STANDBY);
			retval = 0; // Force immediate refresh
		}

	} else if (mode == MAIN_SELECT_PROFILE) {
		int curprofile = Reflow_GetProfileIdx();
		LCD_FB_Clear();

		// Prev profile
		if (keyspressed & KEY_F1) {
			curprofile--;
		}
		// Next profile
		if (keyspressed & KEY_F2) {
			curprofile++;
		}

		Reflow_SelectProfileIdx(curprofile);

		Reflow_PlotProfile(-1);
		LCD_BMPDisplay(selectbmp, 127 - 17, 0);
		int eeidx = Reflow_GetEEProfileIdx();
		if (eeidx) { // Display edit button
			LCD_BMPDisplay(f3editbmp, 127 - 17, 29);
		}
		len = snprintf(buf, sizeof(buf), "%s", Reflow_GetProfileName());
		LCD_disp_str((uint8_t*)buf, len, 13, 0, FONT6X6);

		if (eeidx && keyspressed & KEY_F3) { // Edit ee profile
			mode = MAIN_EDIT_PROFILE;
			current_edit_profile = eeidx;
			retval = 0; // Force immediate refresh
		}

		// Select current profile
		if (keyspressed & KEY_S) {
			mode = MAIN_HOME;
			retval = 0; // Force immediate refresh
		}

	} else if (mode == MAIN_BAKE) {
		LCD_FB_Clear();
		LCD_disp_str((uint8_t*)"MANUAL/BAKE MODE", 16, 0, 0, FONT6X6);

		int keyrepeataccel = keyspressed >> 17; // Divide the value by 2
		if (keyrepeataccel < 1) keyrepeataccel = 1;
		if (keyrepeataccel > 30) keyrepeataccel = 30;

		// Setpoint-
		if (keyspressed & KEY_F1) {
			setpoint -= keyrepeataccel;
			if (setpoint < SETPOINT_MIN) setpoint = SETPOINT_MIN;
		}

		// Setpoint+
		if (keyspressed & KEY_F2) {
			setpoint += keyrepeataccel;
			if (setpoint > SETPOINT_MAX) setpoint = SETPOINT_MAX;
		}

		// timer --
		if (keyspressed & KEY_F3) {
			if (timer - keyrepeataccel < 0) {
				// infinite bake
				timer = -1;
			} else {
				timer -= keyrepeataccel;
			}
		}
		// timer ++
		if (keyspressed & KEY_F4) {
			timer += keyrepeataccel;
		}

		int y = 10;
		// display F1 button only if setpoint can be decreased
		char f1function = ' ';
		if (setpoint > SETPOINT_MIN) {
			LCD_disp_str((uint8_t*)"F1", 2, 0, y, FONT6X6 | INVERT);
			f1function = '-';
		}
		// display F2 button only if setpoint can be increased
		char f2function = ' ';
		if (setpoint < SETPOINT_MAX) {
			LCD_disp_str((uint8_t*)"F2", 2, LCD_ALIGN_RIGHT(2), y, FONT6X6 | INVERT);
			f2function = '+';
		}
		len = snprintf(buf, sizeof(buf), "%c SETPOINT %d` %c", f1function, (int)setpoint, f2function);
		LCD_disp_str((uint8_t*)buf, len, LCD_ALIGN_CENTER(len), y, FONT6X6);

		y = 18;
		if (timer == 0) {
			len = snprintf(buf, sizeof(buf), "inf TIMER stop +");
		} else if (timer < 0) {
			len = snprintf(buf, sizeof(buf), "no timer    stop");
		} else {
			len = snprintf(buf, sizeof(buf), "- TIMER %3d:%02d +", timer / 60, timer % 60);
		}
		LCD_disp_str((uint8_t*)buf, len, LCD_ALIGN_CENTER(len), y, FONT6X6);

		if (timer >= 0) {
			LCD_disp_str((uint8_t*)"F3", 2, 0, y, FONT6X6 | INVERT);
		}
		LCD_disp_str((uint8_t*)"F4", 2, LCD_ALIGN_RIGHT(2), y, FONT6X6 | INVERT);

		y = 26;
		if (timer > 0) {
			int time_left = Reflow_GetTimeLeft();
			if (Reflow_IsPreheating()) {
				len = snprintf(buf, sizeof(buf), "PREHEAT");
			} else if (Reflow_IsDone() || time_left < 0) {
				len = snprintf(buf, sizeof(buf), "DONE");
			} else {
				len = snprintf(buf, sizeof(buf), "%d:%02d", time_left / 60, time_left % 60);
			}
			LCD_disp_str((uint8_t*)buf, len, LCD_ALIGN_RIGHT(len), y, FONT6X6);
		}

		len = snprintf(buf, sizeof(buf), "ACT %3.1f`", Sensor_GetTemp(TC_AVERAGE));
		LCD_disp_str((uint8_t*)buf, len, 0, y, FONT6X6);

		y = 34;
		len = snprintf(buf, sizeof(buf), "  L %3.1f`", Sensor_GetTemp(TC_LEFT));
		LCD_disp_str((uint8_t*)buf, len, 0, y, FONT6X6);
		len = snprintf(buf, sizeof(buf), "  R %3.1f`", Sensor_GetTemp(TC_RIGHT));
		LCD_disp_str((uint8_t*)buf, len, LCD_CENTER, y, FONT6X6);

		if (Sensor_IsValid(TC_EXTRA1) || Sensor_IsValid(TC_EXTRA2)) {
			y = 42;
			if (Sensor_IsValid(TC_EXTRA1)) {
				len = snprintf(buf, sizeof(buf), " X1 %3.1f`", Sensor_GetTemp(TC_EXTRA1));
				LCD_disp_str((uint8_t*)buf, len, 0, y, FONT6X6);
			}
			if (Sensor_IsValid(TC_EXTRA2)) {
				len = snprintf(buf, sizeof(buf), " X2 %3.1f`", Sensor_GetTemp(TC_EXTRA2));
				LCD_disp_str((uint8_t*)buf, len, LCD_CENTER, y, FONT6X6);
			}
		}

		y = 50;
		len = snprintf(buf, sizeof(buf), "COLDJUNCTION");
		LCD_disp_str((uint8_t*)buf, len, 0, y, FONT6X6);

		y += 8;
		if (Sensor_IsValid(TC_COLD_JUNCTION)) {
			len = snprintf(buf, sizeof(buf), "%3.1f`", Sensor_GetTemp(TC_COLD_JUNCTION));
		} else {
			len = snprintf(buf, sizeof(buf), "NOT PRESENT");
		}
		LCD_disp_str((uint8_t*)buf, len, (12 * 6) - (len * 6), y, FONT6X6);

		LCD_BMPDisplay(stopbmp, 127 - 17, 0);

		Reflow_SetSetpoint(setpoint);

		if (timer > 0 && Reflow_IsDone()) {
			Buzzer_Beep(BUZZ_1KHZ, 255, TICKS_MS(100) * NV_GetConfig(REFLOW_BEEP_DONE_LEN));
			Reflow_SetBakeTimer(0);
			Reflow_SetMode(REFLOW_STANDBY);
		}

		if (keyspressed & KEY_F3 || keyspressed & KEY_F4) {
			if (timer == 0) {
				Reflow_SetMode(REFLOW_STANDBY);
			} else {
				if (timer == -1) {
					Reflow_SetBakeTimer(0);
				} else if (timer > 0) {
					Reflow_SetBakeTimer(timer);
					printf("\nSetting bake timer to %d\n", timer);
				}
				Reflow_SetMode(REFLOW_BAKE);
			}
		}

		// Abort bake
		if (keyspressed & KEY_S) {
			printf("\nEnd bake mode by keypress\n");

			mode = MAIN_HOME;
			Reflow_SetBakeTimer(0);
			Reflow_SetMode(REFLOW_STANDBY);
			retval = 0; // Force immediate refresh
		}

	} else if (mode == MAIN_EDIT_PROFILE) { // Edit ee1 or 2
		LCD_FB_Clear();
		int keyrepeataccel = keyspressed >> 17; // Divide the value by 2
		if (keyrepeataccel < 1) keyrepeataccel = 1;
		if (keyrepeataccel > 30) keyrepeataccel = 30;

		int16_t cursetpoint;
		Reflow_SelectEEProfileIdx(current_edit_profile);
		if (keyspressed & KEY_F1 && profile_time_idx > 0) { // Prev time
			profile_time_idx--;
		}
		if (keyspressed & KEY_F2 && profile_time_idx < 47) { // Next time
			profile_time_idx++;
		}
		cursetpoint = Reflow_GetSetpointAtIdx(profile_time_idx);

		if (keyspressed & KEY_F3) { // Decrease setpoint
			cursetpoint -= keyrepeataccel;
		}
		if (keyspressed & KEY_F4) { // Increase setpoint
			cursetpoint += keyrepeataccel;
		}
		if (cursetpoint < 0) cursetpoint = 0;
		if (cursetpoint > SETPOINT_MAX) cursetpoint = SETPOINT_MAX;
		Reflow_SetSetpointAtIdx(profile_time_idx, cursetpoint);

		Reflow_PlotProfile(profile_time_idx);
		LCD_BMPDisplay(editbmp, 127 - 17, 0);

		len = snprintf(buf, sizeof(buf), "%02u0s %03u`", profile_time_idx, cursetpoint);
		LCD_disp_str((uint8_t*)buf, len, 13, 0, FONT6X6);

		// Done editing
		if (keyspressed & KEY_S) {
			Reflow_SaveEEProfile();
			mode = MAIN_HOME;
			retval = 0; // Force immediate refresh
		}

	} else { // Main menu
		LCD_FB_Clear();

		len = snprintf(buf, sizeof(buf),"MAIN MENU");
		LCD_disp_str((uint8_t*)buf, len, 0, 6 * 0, FONT6X6);
		LCD_disp_str((uint8_t*)"F1", 2, 0, 8 * 1, FONT6X6 | INVERT);
		LCD_disp_str((uint8_t*)"ABOUT", 5, 14, 8 * 1, FONT6X6);
		LCD_disp_str((uint8_t*)"F2", 2, 0, 8 * 2, FONT6X6 | INVERT);
		LCD_disp_str((uint8_t*)"SETUP", 5, 14, 8 * 2, FONT6X6);
		LCD_disp_str((uint8_t*)"F3", 2, 0, 8 * 3, FONT6X6 | INVERT);
		//LCD_disp_str((uint8_t*)"BAKE/MANUAL MODE", 16, 14, 8 * 3, FONT6X6);
		//LCD_disp_str((uint8_t*)"F4", 2, 0, 8 * 4, FONT6X6 | INVERT);
		LCD_disp_str((uint8_t*)"SELECT PROFILE", 14, 14, 8 * 4, FONT6X6);
		LCD_disp_str((uint8_t*)"S", 1, 3, 8 * 5, FONT6X6 | INVERT);
		LCD_disp_str((uint8_t*)"RUN REFLOW PROFILE", 18, 14, 8 * 5, FONT6X6);

		len = snprintf(buf, sizeof(buf), "%s", Reflow_GetProfileName());
		LCD_disp_str((uint8_t*)buf, len, LCD_ALIGN_CENTER(len), 8 * 6, FONT6X6 | INVERT);

		len = snprintf(buf,sizeof(buf), "OVEN TEMPERATURE %d`", Reflow_GetActualTemp());
		LCD_disp_str((uint8_t*)buf, len, LCD_ALIGN_CENTER(len), 64 - 6, FONT6X6);

		// Make sure reflow complete beep is silenced when pressing any key
		if (keyspressed) {
			Buzzer_Beep(BUZZ_NONE, 0, 0);
		}

		// About
		if (keyspressed & KEY_F1) {
			mode = MAIN_ABOUT;
			retval = 0; // Force immediate refresh
		}
		if (keyspressed & KEY_F2) { // Setup/cal
			mode = MAIN_SETUP;
			Reflow_SetMode(REFLOW_STANDBYFAN);
			retval = 0; // Force immediate refresh
		}

#if 0
		// Bake mode
		if (keyspressed & KEY_F3) {
			mode = MAIN_BAKE;
			Reflow_Init();
			retval = 0; // Force immediate refresh
		}
#endif
		// Select profile
		if (keyspressed & KEY_F3) {
			mode = MAIN_SELECT_PROFILE;
			retval = 0; // Force immediate refresh
		}

		// Start reflow
		if (keyspressed & KEY_S) {
			mode = MAIN_REFLOW;
			LCD_FB_Clear();
			printf("\nStarting reflow with profile: %s", Reflow_GetProfileName());
			Reflow_Init();
			Reflow_PlotProfile(-1);
			LCD_BMPDisplay(stopbmp, 127 - 17, 0);
			len = snprintf(buf, sizeof(buf), "%s", Reflow_GetProfileName());
			LCD_disp_str((uint8_t*)buf, len, 13, 0, FONT6X6);
			Reflow_SetMode(REFLOW_REFLOW);
			retval = 0; // Force immediate refresh
		}
	}

	LCD_FB_Update();

	return retval;
}

/* USER CODE END 4 */

void StartDefaultTask(void *argument)
{
  /* USER CODE BEGIN 5 */
	printf("Inside DefaultTask\r\n");

  /* Infinite loop */
  for(;;)
  {
    //osDelay(1);
    // Cool fan is controlled by TIM1_CH1, HEAT is controlled by TIM4_CH3
    //COOL_GPIO_Port->ODR = (GPIOB->IDR & GPIO_PIN_15) ? 0 : COOL_Pin;
    //    TIM4->CCR3 = (GPIOB->IDR & GPIO_PIN_15) ? 0x0100 : 0x2000;
    //    TIM1->CCR1 = (GPIOB->IDR & GPIO_PIN_13) ? 0x1000 : 0x5000;
    //Set_Heater( (GPIOB->IDR & GPIO_PIN_15) ? 0x10 : 0xff );
    //Set_Fan( (GPIOB->IDR & GPIO_PIN_13) ? 0x10 : 0x80 );

    GPIOA->BSRR = (GPIO_PIN_5 << ((GPIOB->IDR & GPIO_PIN_8) ? 0 : 16)); // Mimic SSR Heat pin on "FAN" pin as that's the one driving the Heat LED!??!??

    //printf("RTC: 0x%08x ticks=0x%08x tickcount=0x%08x\r\n", RTC_Read(), Sched_GetTick(), xTaskGetTickCount());
    Sched_Do(0);
  }
  /* USER CODE END 5 */
}

 /**
  * @brief  Period elapsed callback in non blocking mode
  * @note   This function is called  when TIM3 interrupt took place, inside
  * HAL_TIM_IRQHandler(). It makes a direct call to HAL_IncTick() to increment
  * a global variable "uwTick" used as application time base.
  * @param  htim : TIM handle
  * @retval None
  */
void HAL_TIM_PeriodElapsedCallback(TIM_HandleTypeDef *htim)
{
  if (htim->Instance == TIM3) {
    HAL_IncTick();
  }
}

void Error_Handler(void)
{
  __disable_irq();
  while (1)
  {
  }
}

/************************ (C) COPYRIGHT STMicroelectronics *****END OF FILE****/
